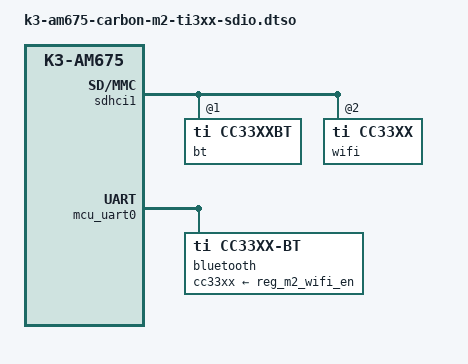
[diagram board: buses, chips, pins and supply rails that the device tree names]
// SPDX-License-Identifier: GPL-2.0
/*
 * M.2 SDIO TI CC33xx module
 *
 * Copyright (C) 2025 Ezurio LLC
 */

/dts-v1/;
/plugin/;

#include "k3-am675-carbon-m2-sdio.dtsi"

&reg_m2_wifi_en {
	startup-delay-us = <10000>;
};

&sdhci1 { /* SDIO_A uSD / M.2_SDIO */
	cap-power-off-card;

	bt@1 {
		reg = <1>;
		compatible = "ti,cc33xxbt";
	};

	wifi@2 {
		reg = <2>;
		compatible = "ti,cc33xx";
	};
};

&mcu_uart0 {
	bluetooth {
		compatible = "ti,cc33xx-bt";
		cc33xx-supply = <&reg_m2_wifi_en>;
		max-speed = <115200>;
	};
};
